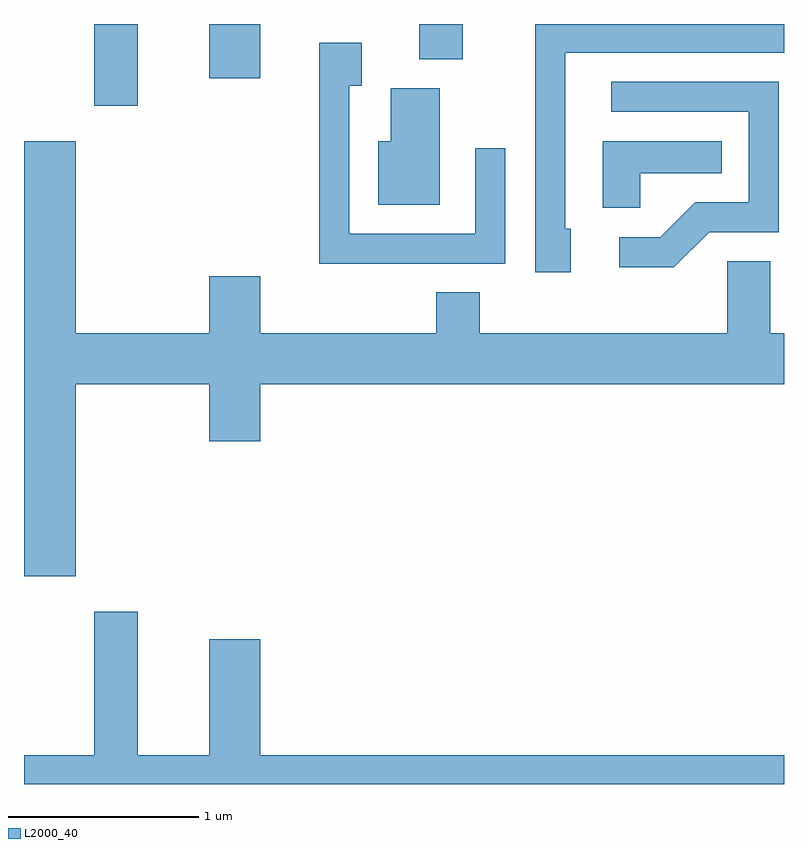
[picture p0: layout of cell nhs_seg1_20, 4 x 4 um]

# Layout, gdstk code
import gdstk
lib = gdstk.Library(unit=1e-6, precision=1e-09)
def R(c, l, rs):  # rectangles x0, y0, x1, y1
    for r in rs: c.add(gdstk.rectangle(r[:2], r[2:], *l))
def P(c, l, *ps):  # polygons
    for p in ps: c.add(gdstk.Polygon(p, *l))
L2000_40 = (2000, 40)

nhs_seg1_20 = lib.new_cell('nhs_seg1_20')
R(nhs_seg1_20, L2000_40, [(185.981,883.281,186.209,883.712), (186.586,883.426,186.854,883.712), (187.691,883.526,187.919,883.712)])
P(nhs_seg1_20, L2000_40, [(188.489,882.634),(188.459,882.634),(188.459,883.561),(189.611,883.561),(189.611,883.712),(188.301,883.712),(188.301,882.406),(188.489,882.406)],
  [(188.144,883.058),(187.986,883.058),(187.986,882.609),(187.324,882.609),(187.324,883.386),(187.389,883.386),(187.389,883.614),(187.166,883.614),(187.166,882.451),(188.144,882.451)],
  [(189.217,882.616),(189.584,882.616),(189.584,883.409),(188.703,883.409),(188.703,883.251),(189.426,883.251),(189.426,882.774),(189.144,882.774),(188.959,882.589),(188.743,882.589),(188.743,882.431),(189.032,882.431)],
  [(187.799,883.374),(187.541,883.374),(187.541,883.094),(187.476,883.094),(187.476,882.761),(187.799,882.761)],
  [(188.854,882.926),(189.283,882.926),(189.283,883.094),(188.656,883.094),(188.656,882.746),(188.854,882.746)],
  [(185.884,881.816),(186.586,881.816),(186.586,881.516),(186.854,881.516),(186.854,881.816),(189.611,881.816),(189.611,882.084),(189.539,882.084),(189.539,882.464),(189.311,882.464),(189.311,882.084),(188.009,882.084),(188.009,882.299),(187.781,882.299),(187.781,882.084),(186.854,882.084),(186.854,882.384),(186.586,882.384),(186.586,882.084),(185.884,882.084),(185.884,883.094),(185.611,883.094),(185.611,880.806),(185.884,880.806)],
  [(189.611,879.864),(186.854,879.864),(186.854,880.474),(186.586,880.474),(186.586,879.864),(186.209,879.864),(186.209,880.619),(185.981,880.619),(185.981,879.864),(185.611,879.864),(185.611,879.712),(189.611,879.712)])

lib.write_gds('nhs_seg1_20.gds')
